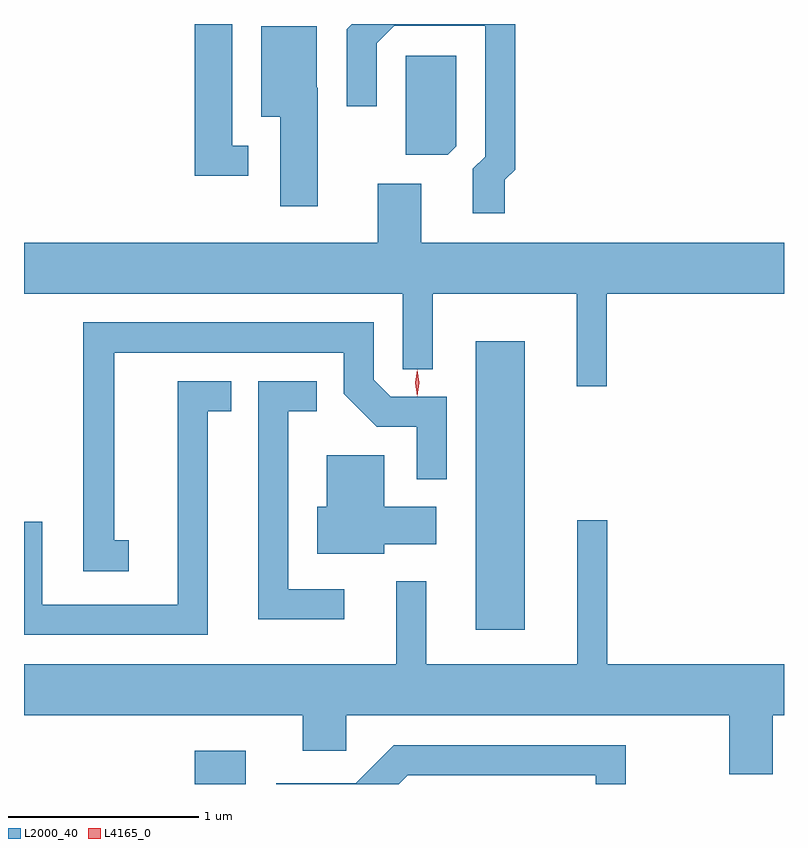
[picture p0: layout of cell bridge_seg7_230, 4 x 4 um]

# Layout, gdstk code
import gdstk
lib = gdstk.Library(unit=1e-6, precision=1e-09)
def R(c, l, rs):  # rectangles x0, y0, x1, y1
    for r in rs: c.add(gdstk.rectangle(r[:2], r[2:], *l))
def P(c, l, *ps):  # polygons
    for p in ps: c.add(gdstk.Polygon(p, *l))
L2000_40 = (2000, 40)
L4165_0 = (4165, 0)

bridge_seg7_230 = lib.new_cell('bridge_seg7_230')
R(bridge_seg7_230, L2000_40, [(1786.686,1687.315,1786.954,1687.489), (1788.166,1688.126,1788.424,1689.644)])
P(bridge_seg7_230, L2000_40, [(1786.968,1690.674),(1786.884,1690.674),(1786.884,1691.315),(1786.686,1691.315),(1786.686,1690.516),(1786.968,1690.516)],
  [(1788.319,1690.494),(1788.374,1690.549),(1788.374,1691.315),(1787.514,1691.315),(1787.486,1691.287),(1787.486,1690.883),(1787.644,1690.883),(1787.644,1691.214),(1787.737,1691.306),(1788.216,1691.306),(1788.216,1690.617),(1788.151,1690.552),(1788.151,1690.318),(1788.319,1690.318)],
  [(1787.334,1690.98),(1787.329,1690.98),(1787.329,1691.304),(1787.036,1691.304),(1787.036,1690.826),(1787.136,1690.826),(1787.136,1690.356),(1787.334,1690.356)],
  [(1788.064,1690.672),(1788.064,1691.149),(1787.796,1691.149),(1787.796,1690.626),(1788.019,1690.626)],
  [(1788.854,1689.896),(1789.788,1689.896),(1789.788,1690.164),(1787.879,1690.164),(1787.879,1690.474),(1787.651,1690.474),(1787.651,1690.164),(1785.788,1690.164),(1785.788,1689.896),(1787.781,1689.896),(1787.781,1689.498),(1787.939,1689.498),(1787.939,1689.896),(1788.696,1689.896),(1788.696,1689.408),(1788.854,1689.408)],
  [(1786.338,1688.599),(1786.264,1688.599),(1786.264,1689.586),(1787.471,1689.586),(1787.471,1689.369),(1787.644,1689.196),(1787.856,1689.196),(1787.856,1688.918),(1788.014,1688.918),(1788.014,1689.354),(1787.717,1689.354),(1787.629,1689.442),(1787.629,1689.744),(1786.101,1689.744),(1786.101,1688.436),(1786.338,1688.436)],
  [(1786.754,1689.276),(1786.878,1689.276),(1786.878,1689.434),(1786.596,1689.434),(1786.596,1688.259),(1785.884,1688.259),(1785.884,1688.694),(1785.788,1688.694),(1785.788,1688.101),(1786.754,1688.101)],
  [(1787.473,1688.339),(1787.179,1688.339),(1787.179,1689.276),(1787.328,1689.276),(1787.328,1689.434),(1787.021,1689.434),(1787.021,1688.181),(1787.473,1688.181)],
  [(1787.684,1688.576),(1787.959,1688.576),(1787.959,1688.774),(1787.684,1688.774),(1787.684,1689.044),(1787.381,1689.044),(1787.381,1688.774),(1787.331,1688.774),(1787.331,1688.526),(1787.684,1688.526)],
  [(1789.729,1687.676),(1789.788,1687.676),(1789.788,1687.944),(1788.859,1687.944),(1788.859,1688.703),(1788.701,1688.703),(1788.701,1687.944),(1787.904,1687.944),(1787.904,1688.383),(1787.746,1688.383),(1787.746,1687.944),(1785.788,1687.944),(1785.788,1687.676),(1787.256,1687.676),(1787.256,1687.491),(1787.484,1687.491),(1787.484,1687.676),(1789.501,1687.676),(1789.501,1687.366),(1789.729,1687.366)],
  [(1787.807,1687.361),(1788.796,1687.361),(1788.796,1687.315),(1788.954,1687.315),(1788.954,1687.519),(1787.734,1687.519),(1787.534,1687.319),(1787.116,1687.319),(1787.116,1687.315),(1787.761,1687.315)])
P(bridge_seg7_230, L4165_0, [(1787.857,1689.356),(1787.857,1689.357),(1787.848,1689.426),(1787.858,1689.495),(1787.858,1689.496),(1787.859,1689.495),(1787.868,1689.426),(1787.858,1689.357)],
  [(1787.857,1689.359),(1787.857,1689.359),(1787.848,1689.426),(1787.858,1689.492),(1787.858,1689.492),(1787.859,1689.492),(1787.868,1689.426),(1787.858,1689.359)])

lib.write_gds('bridge_seg7_230.gds')
